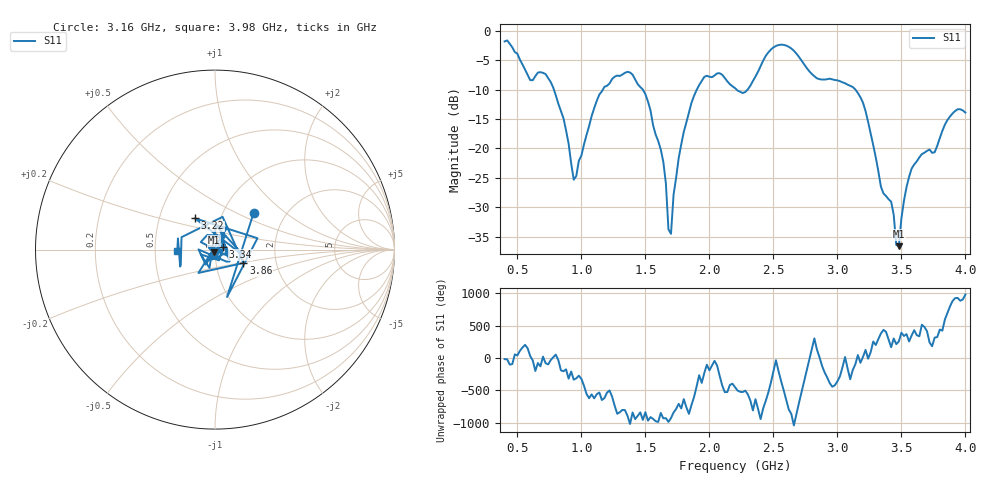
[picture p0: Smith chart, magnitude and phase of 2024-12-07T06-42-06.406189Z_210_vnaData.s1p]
!Created with skrf (http://scikit-rf.org).
# Hz S RI R 50.0
!freq ReS11 ImS11
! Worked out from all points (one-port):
!   181 points, 400 MHz to 4 GHz, reference 50 ohm
!   lowest |S11| = -36.6 dB at 3.48 GHz (marker M1), VSWR 1.03, Z = 49.5 - j1.4 ohm
!   |S11| at or under -10 dB: 785.5 MHz to 1.167 GHz (381.8 MHz wide, 39.1 % of centre); 1.481 GHz to 1.901 GHz (420.5 MHz wide, 24.9 % of centre); 3.142 GHz to end of sweep (the widest 3 of 4)
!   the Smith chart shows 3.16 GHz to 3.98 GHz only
!   S11 on the Smith chart (normalised r, x): 3.16 GHz: 1.39, +0.62; 3.22 GHz: 0.75, +0.28; 3.34 GHz: 1.09, +0.03; 3.86 GHz: 1.36, -0.21; 3.98 GHz: 0.65, -0.01
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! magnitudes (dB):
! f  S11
! 400 MHz  -1.8
! 600 MHz  -8.4
! 720 MHz  -7.3
! 860 MHz  -14.9
! 940 MHz  -25.3
! 1.14 GHz  -10.8
! 1.3 GHz  -7.7
! 1.52 GHz  -12.0
! 1.64 GHz  -22.3
! 1.68 GHz  -33.8
! 1.7 GHz  -34.5
! 1.76 GHz  -21.6
! 1.86 GHz  -12.2
! 1.96 GHz  -7.8
! 2.2 GHz  -9.7
! 2.3 GHz  -9.9
! 2.5 GHz  -2.8
! 2.66 GHz  -3.4
! 3.1 GHz  -9.3
! 3.16 GHz  -10.6
! 3.22 GHz  -13.6
! 3.34 GHz  -26.5
! 3.42 GHz  -29.1
! 3.48 GHz  -36.6
! 3.56 GHz  -24.8
! 3.86 GHz  -15.1
! 3.98 GHz  -13.5
! 4 GHz  -13.9
